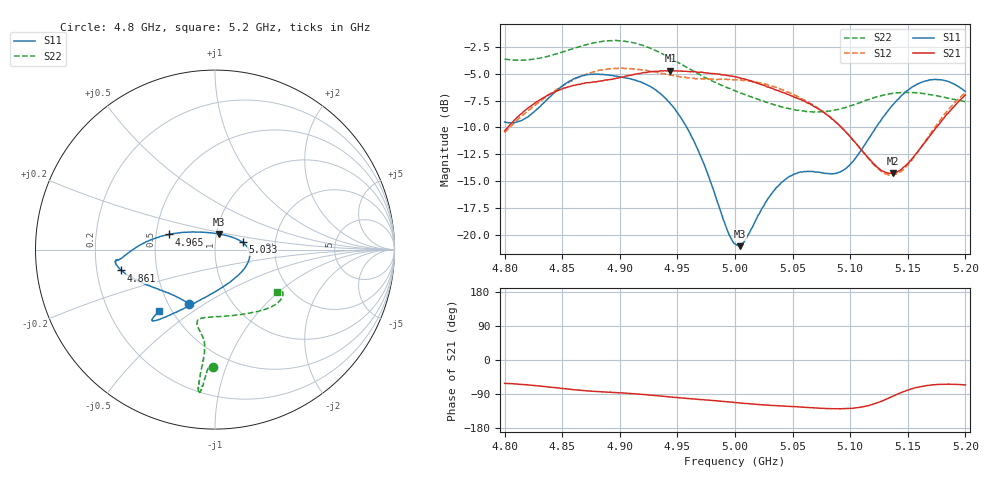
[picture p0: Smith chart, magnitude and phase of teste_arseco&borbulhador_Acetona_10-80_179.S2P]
! Network Analyzer HP8722D
! Hewlett-Packard
! Data name: Linha & Wilkinson
! Saver's name: Rodrigo Anjos
! Comments: Teste da utilização de aquisição
! continua pelo VNA HP8722D
! Time and date: 17/4/2025 15:51
!  Frequency  S11  S21  S12  S22
# HZ  S  MA R 50
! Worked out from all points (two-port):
!   401 points, 4.8 GHz to 5.2 GHz, reference 50 ohm
!   highest |S21| = -4.71 dB at 4.944 GHz (marker M1); lowest = -14.3 dB at 5.137 GHz (marker M2)
!   |S21| within 3 dB of the highest: 4.827 GHz to 5.063 GHz (236.2 MHz wide, 4.78 % of centre); 5.193084 GHz to end of sweep
!   lowest |S11| = -21.0 dB at 5.004 GHz (marker M3), VSWR 1.20, Z = 51.3 + j8.94 ohm
!   |S11| at or under -10 dB: 4.958 GHz to 5.122 GHz (164.2 MHz wide, 3.26 % of centre)
!   |S22| runs from -8.6 to -1.9 dB; largest |S21 - S12| = 0.87
!   S11 on the Smith chart (normalised r, x): 4.8 GHz: 0.63, -0.43; 4.861 GHz: 0.31, -0.10; 4.965 GHz: 0.59, +0.11; 5.033 GHz: 1.36, +0.11; 5.2 GHz: 0.43, -0.37
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4.8e9  0.3353 -115.4  0.3047 -61.6  0.2995 -175.8  0.6568 -90.8
4.819e9  0.3517 -135.6  0.3842 -65.5  0.3729 -175.1  0.6523 -92.4
4.861e9  0.5348 -167.4  0.4975 -78.6  0.5316 -178.4  0.7383 -94.9
4.867e9  0.5485 -169.8  0.5054 -80.1  0.5489 -179.6  0.757 -95.0
4.899e9  0.5444 -174.0  0.5374 -86.6  0.5962 174.0  0.7988 -96.5
4.934e9  0.4598 -179.8  0.577 -94.8  0.5701 170.7  0.7076 -96.7
4.944e9  0.4078 175.6  0.5813 -97.5  0.5535 170.9  0.6649 -96.5
4.965e9  0.2688 161.6  0.5756 -103.0  0.534 172.6  0.5728 -95.9
4.993e9  0.1065 116.2  0.5517 -110.2  0.5288 174.9  0.4856 -98.4
5e9  0.09097 91.6  0.5444 -112.3  0.5285 175.0  0.468 -99.8
5.004e9  0.08887 76.4  0.5379 -113.2  0.5255 174.8  0.4591 -100.7
5.033e9  0.1589 14.7  0.4797 -120.2  0.4911 173.7  0.4052 -103.6
5.049e9  0.1889 -0.7  0.4429 -122.6  0.4546 173.1  0.3844 -99.4
5.067e9  0.1975 -20.1  0.4014 -125.9  0.4048 172.7  0.3742 -89.3
5.085e9  0.1926 -48.6  0.3439 -128.7  0.3443 173.2  0.3799 -75.6
5.097e9  0.2054 -72.4  0.2983 -128.4  0.299 174.8  0.3935 -66.0
5.122e9  0.3141 -110.1  0.2105 -114.5  0.2085 -169.3  0.4377 -49.1
5.134e9  0.3852 -119.5  0.1937 -99.8  0.19 -152.8  0.4532 -43.1
5.137e9  0.4029 -121.2  0.1936 -95.6  0.1901 -148.0  0.4559 -41.9
5.15e9  0.4706 -126.7  0.215 -79.5  0.212 -129.2  0.4603 -37.3
5.17e9  0.5265 -131.1  0.2926 -66.0  0.2978 -112.2  0.4493 -32.7
5.2e9  0.464 -132.2  0.4477 -65.8  0.4582 -108.0  0.4167 -34.3
